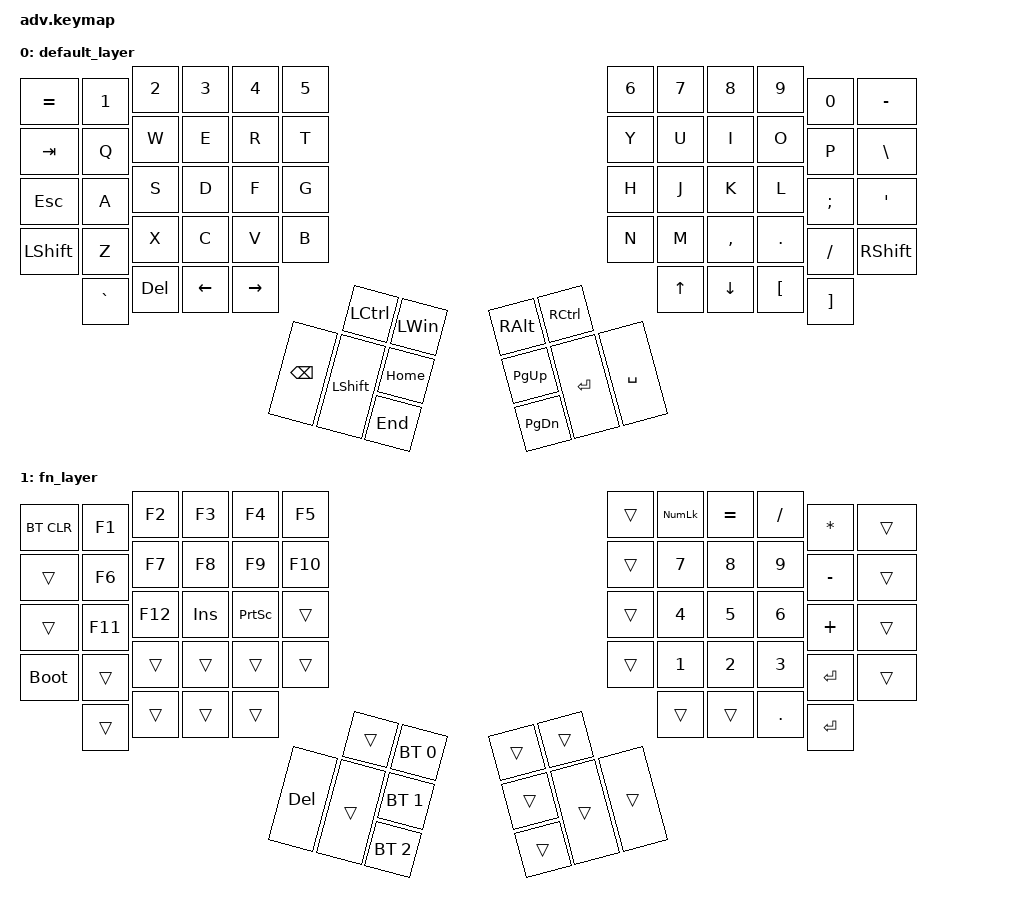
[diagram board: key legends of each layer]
#include <behaviors.dtsi>
#include <dt-bindings/zmk/keys.h>
#include <dt-bindings/zmk/bt.h>

#define DEFAULT 0
#define FN  1

/ {
    keymap {
        compatible = "zmk,keymap";

        default_layer {
            // ---------------------------------------------------------------------------------------------------------------------------------
            // | ESC  |  1   |  2   |  3   |  4   |  5   |                                                   |  6   |  7   |  8   |  9   |  0   | BSPC |
            // | WIN  |  Q   |  W   |  E   |  R   |  T   |                                                   |  Y   |  U   |  I   |  O   |  P   | EQL  |
            // | TAB  |  A   |  S   |  D   |  F   |  G   |                                                   |  H   |  J   |  K   |  L   | SCLN | QUOT |
            // | LCTL |  Z   |  X   |  C   |  V   |  B   |      | CTL  | ALT  |         | CAPS | CTL  |      |  N   |  M   | COMM | DOT  | SLSH | MINS |
            //        | GRV  | BSLS | LEFT | RGHT |      | SHFT |  FN  | HOME |         | PGUP | ENT  | SPC  |      |  UP  |  DN  | LBKT | RBKT |
            //                                                         | END  |         | PGDN |

            bindings = <
&kp EQUAL       &kp N1     &kp N2      &kp N3    &kp N4     &kp N5                                                                                 &kp N6  &kp N7  &kp N8     &kp N9      &kp N0     &kp MINUS
&kp TAB         &kp Q      &kp W       &kp E     &kp R      &kp T                                                                                  &kp Y   &kp U   &kp I      &kp O       &kp P      &kp BACKSLASH
&kp ESCAPE      &kp A      &kp S       &kp D     &kp F      &kp G                                                                                  &kp H   &kp J   &kp K      &kp L       &kp SEMI   &kp SQT
&kp LEFT_SHIFT  &kp Z      &kp X       &kp C     &kp V      &kp B                  &kp LCTRL  &kp LEFT_WIN    &kp RIGHT_ALT  &kp RCTRL             &kp N   &kp M   &kp COMMA  &kp PERIOD  &kp SLASH  &kp RIGHT_SHIFT
                &kp GRAVE  &kp DELETE  &kp LEFT  &kp RIGHT          &kp BACKSPACE  &kp LEFT_SHIFT      &kp HOME        &kp PG_UP      &kp ENTER  &kp SPACE          &kp UP  &kp DOWN   &kp LBKT    &kp RBKT
                                                                                              &kp END         &kp PG_DN
            >;
        };

        fn_layer {
            // ---------------------------------------------------------------------------------------------------------------------------------
            // |BT_CLR|  F1  |  F2  |  F3  |  F4  |  F5  |                                                   |      | NLCK |  =   |  /   |  *   |      |
            // |      |  F6  |  F7  |  F8  |  F9  |  F10 |                                                   |      |  7   |  8   |  9   |  -   |      |
            // |      |      |      |      |      |      |                                                   |      |  4   |  5   |  6   |  +   |      |
            // |      |      |      |      |      | PTSC |      |      |      |         |      |      |      |      |  1   |  2   |  3   | ENT  |      |
            //        |      | INS  |      |      |      |      |  FN  |      |         |      |      |      |      |      |      |  .   | ENT  |
            //                                                         |      |         |      |

            bindings = <
&bt BT_CLR  &kp F1   &kp F2   &kp F3   &kp F4           &kp F5                                                      &trans  &kp KP_NUM  &kp EQUAL  &kp SLASH  &kp STAR   &trans
&trans  &kp F6   &kp F7   &kp F8   &kp F9           &kp F10                                                     &trans  &kp N7      &kp N8     &kp N9     &kp MINUS  &trans
&trans  &kp F11  &kp F12  &kp INS  &kp PRINTSCREEN  &trans                                                      &trans  &kp N4      &kp N5     &kp N6     &kp PLUS   &trans
&bootloader  &trans   &trans   &trans   &trans           &trans            &trans  &bt BT_SEL 0    &trans  &trans          &trans  &kp N1      &kp N2     &kp N3     &kp ENTER  &trans
        &trans   &trans   &trans   &trans                    &kp DEL  &trans  &bt BT_SEL 1    &trans  &trans  &trans          &trans      &trans     &kp DOT    &kp ENTER
                                                                              &bt BT_SEL 2    &trans
            >;
        };
    };
};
